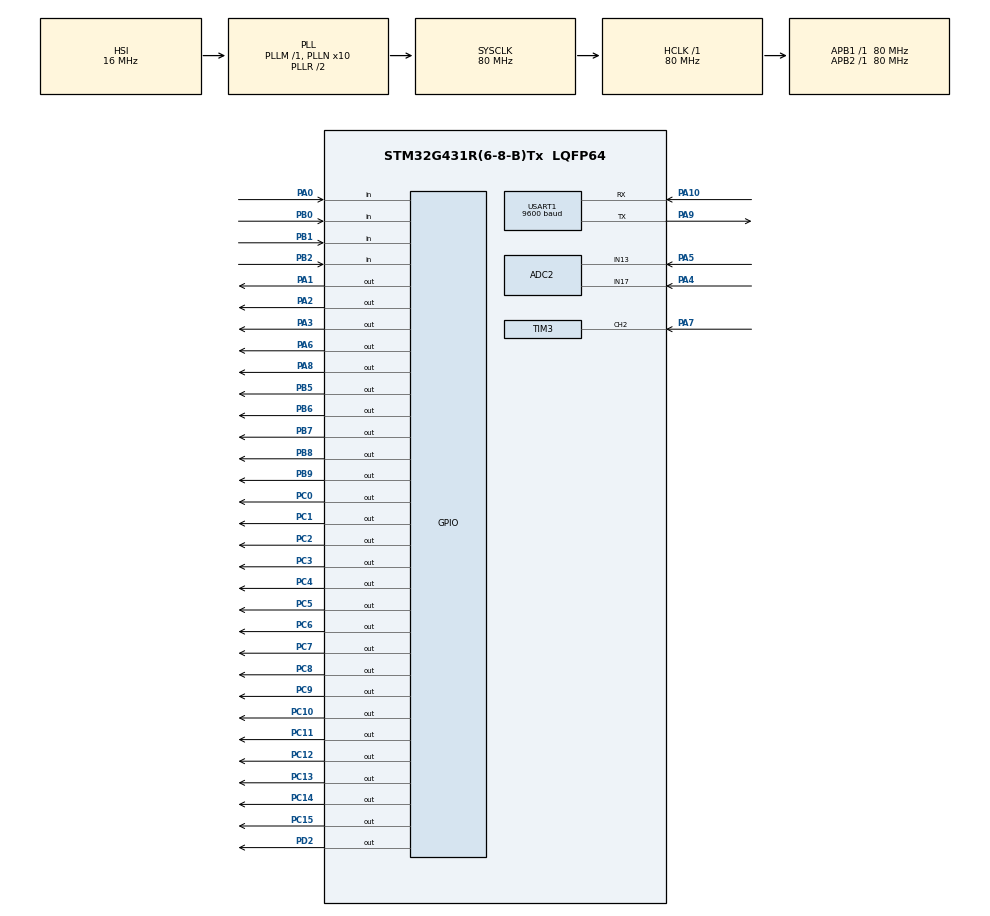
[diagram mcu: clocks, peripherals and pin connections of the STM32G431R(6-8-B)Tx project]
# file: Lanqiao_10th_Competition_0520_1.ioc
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ADC2.Channel-1\#ChannelRegularConversion=ADC_CHANNEL_17
ADC2.Channel-2\#ChannelRegularConversion=ADC_CHANNEL_13
ADC2.DMAContinuousRequests=ENABLE
ADC2.ExternalTrigConv=ADC_EXTERNALTRIG_T6_TRGO
ADC2.NbrOfConversion=2
ADC2.NbrOfConversionFlag=1
ADC2.OffsetNumber-1\#ChannelRegularConversion=ADC_OFFSET_NONE
ADC2.OffsetNumber-2\#ChannelRegularConversion=ADC_OFFSET_NONE
ADC2.Rank-1\#ChannelRegularConversion=1
ADC2.Rank-2\#ChannelRegularConversion=2
ADC2.SamplingTime-1\#ChannelRegularConversion=ADC_SAMPLETIME_2CYCLES_5
ADC2.SamplingTime-2\#ChannelRegularConversion=ADC_SAMPLETIME_2CYCLES_5
Dma.ADC2.0.Direction=DMA_PERIPH_TO_MEMORY
Dma.ADC2.0.EventEnable=DISABLE
Dma.ADC2.0.Instance=DMA1_Channel1
Dma.ADC2.0.MemDataAlignment=DMA_MDATAALIGN_HALFWORD
Dma.ADC2.0.MemInc=DMA_MINC_ENABLE
Dma.ADC2.0.Mode=DMA_CIRCULAR
Dma.ADC2.0.PeriphDataAlignment=DMA_PDATAALIGN_HALFWORD
Dma.ADC2.0.PeriphInc=DMA_PINC_DISABLE
Dma.ADC2.0.Polarity=HAL_DMAMUX_REQ_GEN_RISING
Dma.ADC2.0.Priority=DMA_PRIORITY_LOW
Dma.ADC2.0.RequestNumber=1
Dma.ADC2.0.SignalID=NONE
Dma.ADC2.0.SyncEnable=DISABLE
Dma.ADC2.0.SyncPolarity=HAL_DMAMUX_SYNC_NO_EVENT
Dma.ADC2.0.SyncRequestNumber=1
Dma.ADC2.0.SyncSignalID=NONE
Dma.Request0=ADC2
Dma.Request1=USART1_RX
Dma.USART1_RX.1.Direction=DMA_PERIPH_TO_MEMORY
Dma.USART1_RX.1.EventEnable=DISABLE
Dma.USART1_RX.1.Instance=DMA1_Channel2
Dma.USART1_RX.1.MemDataAlignment=DMA_MDATAALIGN_BYTE
Dma.USART1_RX.1.MemInc=DMA_MINC_ENABLE
Dma.USART1_RX.1.Mode=DMA_CIRCULAR
Dma.USART1_RX.1.PeriphDataAlignment=DMA_PDATAALIGN_BYTE
Dma.USART1_RX.1.PeriphInc=DMA_PINC_DISABLE
Dma.USART1_RX.1.Polarity=HAL_DMAMUX_REQ_GEN_RISING
Dma.USART1_RX.1.Priority=DMA_PRIORITY_LOW
Dma.USART1_RX.1.RequestNumber=1
Dma.USART1_RX.1.SignalID=NONE
Dma.USART1_RX.1.SyncEnable=DISABLE
Dma.USART1_RX.1.SyncPolarity=HAL_DMAMUX_SYNC_NO_EVENT
Dma.USART1_RX.1.SyncRequestNumber=1
Dma.USART1_RX.1.SyncSignalID=NONE
Mcu.Family=STM32G4
Mcu.Name=STM32G431R(6-8-B)Tx
Mcu.Package=LQFP64
NVIC.DMA1_Channel1_IRQn=true\:0\:0\:false\:false\:true\:false\:true
NVIC.DMA1_Channel2_IRQn=true\:0\:0\:false\:false\:true\:false\:true
NVIC.PriorityGroup=NVIC_PRIORITYGROUP_4
NVIC.TIM2_IRQn=true\:8\:0\:true\:false\:true\:true\:true
NVIC.TIM3_IRQn=true\:5\:0\:true\:false\:true\:true\:true
NVIC.TIM4_IRQn=true\:3\:0\:true\:false\:true\:true\:true
NVIC.TIM7_IRQn=true\:7\:0\:true\:false\:true\:true\:true
NVIC.USART1_IRQn=true\:4\:0\:true\:false\:true\:true\:true
PA0.Signal=GPIO_Input
PA1.Signal=GPIO_Output
PA10.Mode=Asynchronous
PA10.Signal=USART1_RX
PA2.Signal=GPIO_Output
PA3.Signal=GPIO_Output
PA4.Mode=IN17-Single-Ended
PA4.Signal=ADC2_IN17
PA5.Mode=IN13-Single-Ended
PA5.Signal=ADC2_IN13
PA6.Signal=GPIO_Output
PA7.Signal=S_TIM3_CH2
PA8.Signal=GPIO_Output
PA9.Mode=Asynchronous
PA9.Signal=USART1_TX
PB0.Signal=GPIO_Input
PB1.Signal=GPIO_Input
PB2.Signal=GPIO_Input
PB5.Signal=GPIO_Output
PB6.Signal=GPIO_Output
PB7.Signal=GPIO_Output
PB8-BOOT0.Signal=GPIO_Output
PB9.Signal=GPIO_Output
PC0.Signal=GPIO_Output
PC1.Signal=GPIO_Output
PC10.Signal=GPIO_Output
PC11.Signal=GPIO_Output
PC12.Signal=GPIO_Output
PC13.Signal=GPIO_Output
PC14-OSC32_IN.Signal=GPIO_Output
PC15-OSC32_OUT.Signal=GPIO_Output
PC2.Signal=GPIO_Output
PC3.Signal=GPIO_Output
PC4.Signal=GPIO_Output
PC5.Signal=GPIO_Output
PC6.Signal=GPIO_Output
PC7.Signal=GPIO_Output
PC8.Signal=GPIO_Output
PC9.Signal=GPIO_Output
PD2.Signal=GPIO_Output
ProjectManager.HeapSize=0x200
ProjectManager.StackSize=0x400
ProjectManager.TargetToolchain=MDK-ARM V5
RCC.ADC12Freq_Value=80000000
RCC.AHBFreq_Value=80000000
RCC.APB1Freq_Value=80000000
RCC.APB1TimFreq_Value=80000000
RCC.APB2Freq_Value=80000000
RCC.APB2TimFreq_Value=80000000
RCC.CortexFreq_Value=80000000
RCC.EXTERNAL_CLOCK_VALUE=12288000
RCC.HCLKFreq_Value=80000000
RCC.HSE_VALUE=8000000
RCC.HSI48_VALUE=48000000
RCC.HSI_VALUE=16000000
RCC.LSE_VALUE=32768
RCC.PLLN=10
RCC.SYSCLKFreq_VALUE=80000000
RCC.SYSCLKSource=RCC_SYSCLKSOURCE_PLLCLK
RCC.USBFreq_Value=80000000
RCC.VCOOutputFreq_Value=160000000
SH.S_TIM3_CH2.0=TIM3_CH2,Input_Capture2_from_TI2
TIM2.PeriodNoDither=9999
TIM2.Prescaler=7999
TIM3.Channel-Input_Capture2_from_TI2=TIM_CHANNEL_2
TIM3.Prescaler=79
TIM4.PeriodNoDither=1999
TIM4.Prescaler=7999
TIM6.PeriodNoDither=99
TIM6.Prescaler=7999
TIM6.TIM_MasterOutputTrigger=TIM_TRGO_UPDATE
TIM7.PeriodNoDither=9999
TIM7.Prescaler=15999
USART1.BaudRate=9600
USART1.VirtualMode-Asynchronous=VM_ASYNC
VP_SYS_VS_DBSignals.Mode=DisableDeadBatterySignals
VP_TIM2_VS_ClockSourceINT.Mode=Internal
VP_TIM3_VS_ClockSourceINT.Mode=Internal
VP_TIM4_VS_ClockSourceINT.Mode=Internal
VP_TIM6_VS_ClockSourceINT.Mode=Enable_Timer
VP_TIM7_VS_ClockSourceINT.Mode=Enable_Timer
board=custom

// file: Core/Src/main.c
/* USER CODE BEGIN Header */
/**
  ******************************************************************************
  * @file           : main.c
  * @brief          : Main program body
  ******************************************************************************
  * @attention
  *
  * <h2><center>&copy; Copyright (c) 2021 STMicroelectronics.
  * All rights reserved.</center></h2>
  *
  * This software component is licensed by ST under BSD 3-Clause license,
  * the "License"; You may not use this file except in compliance with the
  * License. You may obtain a copy of the License at:
  *                        opensource.org/licenses/BSD-3-Clause
  *
  ******************************************************************************
  */
/* USER CODE END Header */
#include "main.h"
#include "adc.h"
#include "dma.h"
#include "tim.h"
#include "usart.h"
#include "gpio.h"

/* USER CODE BEGIN Includes */
#include "stdio.h"
#include "string.h"
#include "lcd.h"
#include "i2c.h"
#include "ds18b20.h"
#include "seg.h"
/* USER CODE END Includes */

/* USER CODE BEGIN PM */
#define print(X) HAL_UART_Transmit(&huart1,(uint8_t *)X,strlen(X),1000)
/* USER CODE END PM */

/* USER CODE BEGIN PV */
uint16_t adcValue[2];
char show[45];
uint8_t segState,aoState,lcdState,preaoStare,preTempLimit=30;
// segState表示当前数码管的显示状态，0表示温度超限参数，1表示比较通道参数
// aoState表示当前比较通道，0表示AO1，1表示AO2
// lcdState表示当前界面，0表示Main，1表示Para
uint32_t IC2ReadValue1,IC2ReadValue2,compare;
uint32_t CaptureNumber;
float t;
uint8_t tempLimit=30,nowElec=1,pwmflag,nowPara,lcdflag,segflag;
// nowElec若为1则表示当前正在捕获上升沿
// nowPara代表当前选中的参数，0表示选中温度阈值，1表示选中输出通道
uint16_t n,time;
uint8_t rxbuff,pos,usartflag,ledflag;
char ch[30];
/* USER CODE END PV */

void SystemClock_Config(void);
/* USER CODE BEGIN PFP */
void x24c02_write(uint8_t address,uint8_t data)
{
	I2CStart();
	I2CSendByte(0xa0);
	I2CWaitAck();
	I2CSendByte(address);
	I2CWaitAck();
	I2CSendByte(data);
	I2CWaitAck();
	I2CStop();
}
uint8_t x24c02_read(uint8_t address)
{
	I2CStart();
	I2CSendByte(0xa0);
	I2CWaitAck();
	I2CSendByte(address);
	I2CWaitAck();
	I2CStart();
	I2CSendByte(0xa1);
	I2CWaitAck();
	uint8_t val=I2CReceiveByte();
	I2CSendNotAck();
	I2CStop();
	return val;
}
/* USER CODE END PFP */

/* USER CODE BEGIN 0 */
void ledProc()
{
	if (ledflag && t>tempLimit && compare/100.0>adcValue[aoState]/4096.0)
		GPIOC->BSRR=0x81007E00;
	else if (compare/100.0>adcValue[aoState]/4096.0)
		GPIOC->BSRR=0x0100FE00;
	else if (ledflag && t>tempLimit)
		GPIOC->BSRR=0x80007F00;
	else
		GPIOC->BSRR=0x0000FF00;
	HAL_GPIO_WritePin(GPIOD,GPIO_PIN_2,GPIO_PIN_SET);
	HAL_GPIO_WritePin(GPIOD,GPIO_PIN_2,GPIO_PIN_RESET);
}
void lcdProc()
{
	if (!lcdState)
	{
		LCD_DisplayStringLine(Line0,(u8 *)"        Main        ");
		sprintf(show,"AO1:%.2fV           ",adcValue[0]/4096.0*3.3);
		LCD_DisplayStringLine(Line2,(u8 *)show);
		sprintf(show,"AO2:%.2fV           ",adcValue[1]/4096.0*3.3);
		LCD_DisplayStringLine(Line3,(u8 *)show);
		sprintf(show,"PWM2:%u%%             ",compare);
		LCD_DisplayStringLine(Line4,(u8 *)show);
		sprintf(show,"Temp:%.2fC          ",t);
		LCD_DisplayStringLine(Line5,(u8 *)show);
		//sprintf(show,"1:%u\r",TIM7->CNT);
		//print(show);
		//sprintf(show,"2:%u\r",TIM7->CNT);
		//print(show);
		sprintf(show,"N:%u                 ",n);
		LCD_DisplayStringLine(Line6,(u8 *)show);
	}
	else
	{
		LCD_DisplayStringLine(Line0,(u8 *)"        Para        ");
		if (nowPara)
		{
			LCD_SetBackColor(Yellow);
			sprintf(show,"X:AO%u               ",aoState+1);
			LCD_DisplayStringLine(Line4,(u8 *)show);
			LCD_SetBackColor(Black);
			sprintf(show,"T:%u                 ",tempLimit);
			LCD_DisplayStringLine(Line2,(u8 *)show);
		}
		else
		{
			LCD_SetBackColor(Yellow);
			sprintf(show,"T:%u                 ",tempLimit);
			LCD_DisplayStringLine(Line2,(u8 *)show);
			LCD_SetBackColor(Black);
			sprintf(show,"X:AO%u               ",aoState+1);
			LCD_DisplayStringLine(Line4,(u8 *)show);
		}
		LCD_DisplayStringLine(Line3,(u8 *)"                    ");
		LCD_DisplayStringLine(Line5,(u8 *)"                    ");
		LCD_DisplayStringLine(Line6,(u8 *)"                    ");
	}
}
void keyscan()
{
	if (HAL_GPIO_ReadPin(GPIOB,GPIO_PIN_0)==GPIO_PIN_RESET)
	{
		while (HAL_GPIO_ReadPin(GPIOB,GPIO_PIN_0)==GPIO_PIN_RESET);
		if (lcdState)
		{
			if (preaoStare!=aoState || preTempLimit!=tempLimit)
			{
				n++;
				x24c02_write(0x46,n);
			}
		}
		else
		{
			preaoStare=aoState;
			preTempLimit=tempLimit;
		}
		lcdState=!lcdState;
	}
	if (HAL_GPIO_ReadPin(GPIOB,GPIO_PIN_1)==GPIO_PIN_RESET)
	{
		while (HAL_GPIO_ReadPin(GPIOB,GPIO_PIN_1)==GPIO_PIN_RESET);
		nowPara=!nowPara;
	}
	if (HAL_GPIO_ReadPin(GPIOB,GPIO_PIN_2)==GPIO_PIN_RESET)
	{
		while (HAL_GPIO_ReadPin(GPIOB,GPIO_PIN_2)==GPIO_PIN_RESET && time<80)
		{
			HAL_Delay(10);
			time++;
		}
		LCD_SetBackColor(Yellow);
		if (nowPara)
		{
			aoState=!aoState;
			sprintf(show,"X:AO%u               ",aoState+1);
			LCD_DisplayStringLine(Line4,(u8 *)show);
		}
		else
		{
			tempLimit++;
			if (tempLimit==41)
				tempLimit=20;
			sprintf(show,"T:%u                 ",tempLimit);
			LCD_DisplayStringLine(Line2,(u8 *)show);
		}
		if (nowPara==0 && time>=80 && HAL_GPIO_ReadPin(GPIOB,GPIO_PIN_2)==GPIO_PIN_RESET)
		{
			while (HAL_GPIO_ReadPin(GPIOB,GPIO_PIN_2)==GPIO_PIN_RESET)
			{
				HAL_Delay(100);
				tempLimit++;
				if (tempLimit==41)
					tempLimit=20;
				sprintf(show,"T:%u                 ",tempLimit);
				LCD_DisplayStringLine(Line2,(u8 *)show);
			}
		}
		LCD_SetBackColor(Black);
		time=0;
	}
	if (HAL_GPIO_ReadPin(GPIOA,GPIO_PIN_0)==GPIO_PIN_RESET)
	{
		while (HAL_GPIO_ReadPin(GPIOA,GPIO_PIN_0)==GPIO_PIN_RESET && time<80)
		{
			HAL_Delay(10);
			time++;
		}
		LCD_SetBackColor(Yellow);
		if (nowPara)
		{
			aoState=!aoState;
			sprintf(show,"X:AO%u               ",aoState+1);
			LCD_DisplayStringLine(Line4,(u8 *)show);
		}
		else
		{
			tempLimit--;
			if (tempLimit==19)
				tempLimit=40;
			sprintf(show,"T:%u                 ",tempLimit);
			LCD_DisplayStringLine(Line2,(u8 *)show);
		}
		if (nowPara==0 && time>=80 && HAL_GPIO_ReadPin(GPIOA,GPIO_PIN_0)==GPIO_PIN_RESET)
		{
			while (HAL_GPIO_ReadPin(GPIOA,GPIO_PIN_0)==GPIO_PIN_RESET)
			{
				HAL_Delay(100);
				tempLimit--;
				if (tempLimit==19)
					tempLimit=40;
				sprintf(show,"T:%u                 ",tempLimit);
				LCD_DisplayStringLine(Line2,(u8 *)show);
			}
		}
		LCD_SetBackColor(Black);
		time=0;
	}
}
/* USER CODE END 0 */

int main(void)
{

  /* MCU Configuration--------------------------------------------------------*/

  /* Reset of all peripherals, Initializes the Flash interface and the Systick. */
  HAL_Init();

  /* Configure the system clock */
  SystemClock_Config();

  /* Initialize all configured peripherals */
  MX_GPIO_Init();
  MX_DMA_Init();
  MX_ADC2_Init();
  MX_TIM6_Init();
  MX_TIM3_Init();
  MX_TIM7_Init();
  MX_USART1_UART_Init();
  MX_TIM2_Init();
  MX_TIM4_Init();
  /* USER CODE BEGIN 2 */
	LCD_Init();
	LCD_SetBackColor(Black);
	LCD_SetTextColor(White);
	LCD_DisplayStringLine(Line1,(u8 *)"                    ");
	LCD_DisplayStringLine(Line7,(u8 *)"                    ");
	LCD_DisplayStringLine(Line8,(u8 *)"                    ");
	LCD_DisplayStringLine(Line9,(u8 *)"                    ");
	GPIOC->BSRR=0x0000FF00;
	HAL_GPIO_WritePin(GPIOD,GPIO_PIN_2,GPIO_PIN_SET);
	HAL_GPIO_WritePin(GPIOD,GPIO_PIN_2,GPIO_PIN_RESET);
	HAL_TIM_Base_Start(&htim6);
	HAL_TIM_Base_Start_IT(&htim2);
	HAL_TIM_Base_Start_IT(&htim4);
	HAL_TIM_Base_Start_IT(&htim7);
	HAL_ADCEx_Calibration_Start(&hadc2,ADC_SINGLE_ENDED);
	HAL_ADC_Start_DMA(&hadc2,(uint32_t *)adcValue,2);
	HAL_TIM_IC_Start_IT(&htim3,TIM_CHANNEL_2);
	HAL_UART_Receive_IT(&huart1,&rxbuff,1);
	if (x24c02_read(0x18)==0x30 && x24c02_read(0x28)==0x36 && x24c02_read(0x38)==0x69)
	{
		n=x24c02_read(0x46);
	}
	else
	{
		x24c02_write(0x46,0);
		x24c02_write(0x18,0x40);
		x24c02_write(0x28,0x36);
		x24c02_write(0x38,0x69);
//		HAL_Delay(500);
//		int x=x24c02_read(0x18);
//		HAL_Delay(500);
//		int y=x24c02_read(0x28);
//		HAL_Delay(500);
//		int z=x24c02_read(0x38);
//		sprintf(show,"%X\r%X\r%X\r",x,y,z);
//		print(show);
	}
  /* USER CODE END 2 */

  /* Infinite loop */
  /* USER CODE BEGIN WHILE */
  while (1)
  {
		if (segflag)
		{
			segflag=0;
			segState=!segState;
			if (segState)
			{
				if (aoState)
					seg_show(10,0,2);
				else
					seg_show(10,0,1);
			}
			else
			{
				seg_show(11,tempLimit/10,tempLimit%10);
			}
		}
		if (CaptureNumber==3)
		{
			CaptureNumber=0;
			compare=IC2ReadValue1*100/IC2ReadValue2;
		}
		if (lcdflag)
		{
			t=ds18b20_read()/16.0;
			lcdflag=0;
			if (compare/100.0>adcValue[aoState]/4096.0)
			{

				sprintf(show,"$%.2f\r\n",t);
				print(show);
			}
		}
		keyscan();
		lcdProc();
		if (usartflag)
		{
			usartflag=0;
			if (ch[0]=='S' && ch[1]=='T' && ch[2]=='\r' && ch[3]=='\n')
			{
				sprintf(show,"$%.2f\r\n",t);
				print(show);
			}
			else if (ch[0]=='P' && ch[1]=='A' && ch[2]=='R' && ch[3]=='A' && ch[4]=='\r' && ch[5]=='\n')
			{
				sprintf(show,"#%u,AO%u\r\n",tempLimit,aoState+1);
				print(show);
			}
			strcpy(ch,"");
		}
		ledProc();
    /* USER CODE END WHILE */

  }
}

void SystemClock_Config(void)
{
  RCC_OscInitTypeDef RCC_OscInitStruct = {0};
  RCC_ClkInitTypeDef RCC_ClkInitStruct = {0};
  RCC_PeriphCLKInitTypeDef PeriphClkInit = {0};

  /** Configure the main internal regulator output voltage
  */
  HAL_PWREx_ControlVoltageScaling(PWR_REGULATOR_VOLTAGE_SCALE1);
  /** Initializes the RCC Oscillators according to the specified parameters
  * in the RCC_OscInitTypeDef structure.
  */
  RCC_OscInitStruct.OscillatorType = RCC_OSCILLATORTYPE_HSI;
  RCC_OscInitStruct.HSIState = RCC_HSI_ON;
  RCC_OscInitStruct.HSICalibrationValue = RCC_HSICALIBRATION_DEFAULT;
  RCC_OscInitStruct.PLL.PLLState = RCC_PLL_ON;
  RCC_OscInitStruct.PLL.PLLSource = RCC_PLLSOURCE_HSI;
  RCC_OscInitStruct.PLL.PLLM = RCC_PLLM_DIV1;
  RCC_OscInitStruct.PLL.PLLN = 10;
  RCC_OscInitStruct.PLL.PLLP = RCC_PLLP_DIV2;
  RCC_OscInitStruct.PLL.PLLQ = RCC_PLLQ_DIV2;
  RCC_OscInitStruct.PLL.PLLR = RCC_PLLR_DIV2;
  if (HAL_RCC_OscConfig(&RCC_OscInitStruct) != HAL_OK)
  {
    Error_Handler();
  }
  /** Initializes the CPU, AHB and APB buses clocks
  */
  RCC_ClkInitStruct.ClockType = RCC_CLOCKTYPE_HCLK|RCC_CLOCKTYPE_SYSCLK
                              |RCC_CLOCKTYPE_PCLK1|RCC_CLOCKTYPE_PCLK2;
  RCC_ClkInitStruct.SYSCLKSource = RCC_SYSCLKSOURCE_PLLCLK;
  RCC_ClkInitStruct.AHBCLKDivider = RCC_SYSCLK_DIV1;
  RCC_ClkInitStruct.APB1CLKDivider = RCC_HCLK_DIV1;
  RCC_ClkInitStruct.APB2CLKDivider = RCC_HCLK_DIV1;

  if (HAL_RCC_ClockConfig(&RCC_ClkInitStruct, FLASH_LATENCY_2) != HAL_OK)
  {
    Error_Handler();
  }
  /** Initializes the peripherals clocks
  */
  PeriphClkInit.PeriphClockSelection = RCC_PERIPHCLK_USART1|RCC_PERIPHCLK_ADC12;
  PeriphClkInit.Usart1ClockSelection = RCC_USART1CLKSOURCE_PCLK2;
  PeriphClkInit.Adc12ClockSelection = RCC_ADC12CLKSOURCE_SYSCLK;
  if (HAL_RCCEx_PeriphCLKConfig(&PeriphClkInit) != HAL_OK)
  {
    Error_Handler();
  }
}

/* USER CODE BEGIN 4 */
void HAL_TIM_PeriodElapsedCallback(TIM_HandleTypeDef *htim)
{
  if (htim->Instance==TIM7)
	{
		segflag=1;
	}
	if (htim->Instance==TIM2)
	{
		lcdflag=1;
	}
	if (htim->Instance==TIM4)
	{
		ledflag=!ledflag;
	}
}
void HAL_TIM_IC_CaptureCallback(TIM_HandleTypeDef *htim)
{
  if (CaptureNumber==0)
	{
		CaptureNumber++;
		__HAL_TIM_SetCounter(&htim3,0);
		__HAL_TIM_SET_CAPTUREPOLARITY(&htim3,TIM_CHANNEL_2,TIM_INPUTCHANNELPOLARITY_FALLING);
	}
	else if (CaptureNumber==1)
	{
		CaptureNumber++;
		IC2ReadValue1=HAL_TIM_ReadCapturedValue(&htim3,TIM_CHANNEL_2);
		__HAL_TIM_SET_CAPTUREPOLARITY(&htim3,TIM_CHANNEL_2,TIM_INPUTCHANNELPOLARITY_RISING);
	}
	else if (CaptureNumber==2)
	{
		CaptureNumber++;
		IC2ReadValue2=HAL_TIM_ReadCapturedValue(&htim3,TIM_CHANNEL_2);
	}
}
void HAL_UART_RxCpltCallback(UART_HandleTypeDef *huart)
{
  ch[pos++]=rxbuff;
	if (rxbuff=='\n')
	{
		usartflag=1;
		ch[pos]='\0';
		pos=0;
	}
	HAL_UART_Receive_IT(&huart1,&rxbuff,1);
}
/* USER CODE END 4 */

void Error_Handler(void)
{
  __disable_irq();
  while (1)
  {
  }
}

/************************ (C) COPYRIGHT STMicroelectronics *****END OF FILE****/
